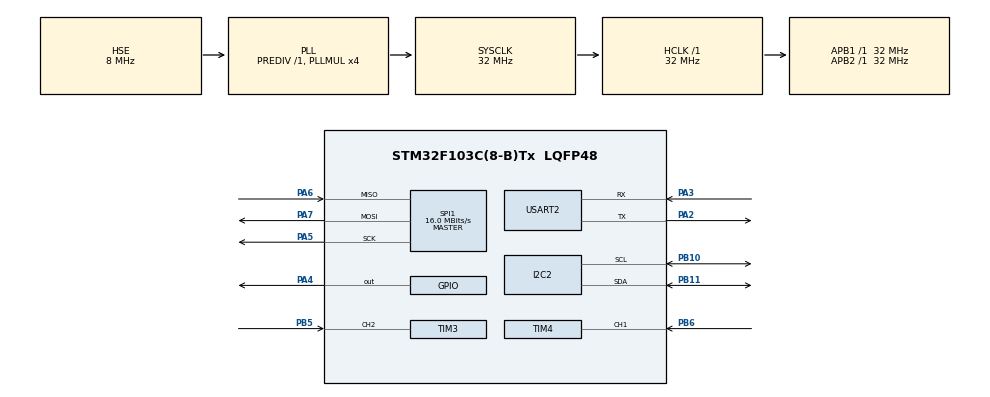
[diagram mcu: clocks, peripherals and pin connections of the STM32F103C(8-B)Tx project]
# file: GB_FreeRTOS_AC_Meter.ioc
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FREERTOS.Tasks01=defaultTask,0,128,StartDefaultTask,Default,NULL,Dynamic,NULL,NULL;HLW8012,2,128,HLW8012_func,Default,NULL,Dynamic,NULL,NULL;OLED,2,128,OLED_func,Default,NULL,Dynamic,NULL,NULL;ESP8266,2,128,ESP8266_func,Default,NULL,Dynamic,NULL,NULL
FREERTOS.configUSE_NEWLIB_REENTRANT=1
Mcu.Family=STM32F1
Mcu.Name=STM32F103C(8-B)Tx
Mcu.Package=LQFP48
NVIC.PriorityGroup=NVIC_PRIORITYGROUP_4
NVIC.TIM1_UP_IRQn=true\:15\:0\:false\:false\:true\:false\:false\:true
NVIC.TIM3_IRQn=true\:5\:0\:false\:false\:true\:true\:true\:true
NVIC.TIM4_IRQn=true\:5\:0\:false\:false\:true\:true\:true\:true
NVIC.TimeBase=TIM1_UP_IRQn
NVIC.TimeBaseIP=TIM1
NVIC.USART2_IRQn=true\:5\:0\:false\:false\:true\:true\:true\:true
PA13.Mode=Serial_Wire
PA13.Signal=SYS_JTMS-SWDIO
PA14.Mode=Serial_Wire
PA14.Signal=SYS_JTCK-SWCLK
PA2.Mode=Asynchronous
PA2.Signal=USART2_TX
PA3.Mode=Asynchronous
PA3.Signal=USART2_RX
PA4.Signal=GPIO_Output
PA5.Mode=Full_Duplex_Master
PA5.Signal=SPI1_SCK
PA6.Mode=Full_Duplex_Master
PA6.Signal=SPI1_MISO
PA7.Mode=Full_Duplex_Master
PA7.Signal=SPI1_MOSI
PB10.Mode=I2C
PB10.Signal=I2C2_SCL
PB11.Mode=I2C
PB11.Signal=I2C2_SDA
PB5.Signal=S_TIM3_CH2
PB6.Signal=S_TIM4_CH1
PD0-OSC_IN.Mode=HSE-External-Oscillator
PD0-OSC_IN.Signal=RCC_OSC_IN
PD1-OSC_OUT.Mode=HSE-External-Oscillator
PD1-OSC_OUT.Signal=RCC_OSC_OUT
ProjectManager.HeapSize=0x200
ProjectManager.StackSize=0x400
ProjectManager.TargetToolchain=STM32CubeIDE
RCC.AHBFreq_Value=32000000
RCC.APB1Freq_Value=32000000
RCC.APB1TimFreq_Value=32000000
RCC.APB2Freq_Value=32000000
RCC.APB2TimFreq_Value=32000000
RCC.HCLKFreq_Value=32000000
RCC.PLLMUL=RCC_PLL_MUL4
RCC.PLLSourceVirtual=RCC_PLLSOURCE_HSE
RCC.SYSCLKFreq_VALUE=32000000
RCC.SYSCLKSource=RCC_SYSCLKSOURCE_PLLCLK
RCC.USBFreq_Value=32000000
SH.S_TIM3_CH2.0=TIM3_CH2,PWM_Input_2
SH.S_TIM4_CH1.0=TIM4_CH1,PWM_Input_1
SPI1.CalculateBaudRate=16.0 MBits/s
SPI1.Direction=SPI_DIRECTION_2LINES
SPI1.Mode=SPI_MODE_MASTER
SPI1.VirtualType=VM_MASTER
TIM3.Prescaler=320
TIM4.Prescaler=320
USART2.VirtualMode=VM_ASYNC
VP_FREERTOS_VS_CMSIS_V1.Mode=CMSIS_V1
VP_SYS_VS_tim1.Mode=TIM1
board=custom

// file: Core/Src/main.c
/* USER CODE BEGIN Header */
/**
  ******************************************************************************
  * @file           : main.c
  * @brief          : Main program body
  ******************************************************************************
  * @attention
  *
  * Copyright (c) 2022 STMicroelectronics.
  * All rights reserved.
  *
  * This software is licensed under terms that can be found in the LICENSE file
  * in the root directory of this software component.
  * If no LICENSE file comes with this software, it is provided AS-IS.
  *
  ******************************************************************************
  */
/* USER CODE END Header */
#include "main.h"
#include "cmsis_os.h"

/* USER CODE BEGIN Includes */
#include "gb_hlw8012.h"
#include "gb_ssd1306_hal.h"
#include "gb_timer_input_capture.h"

/* USER CODE END Includes */

I2C_HandleTypeDef hi2c2;

SPI_HandleTypeDef hspi1;

TIM_HandleTypeDef htim3;
TIM_HandleTypeDef htim4;

UART_HandleTypeDef huart2;

osThreadId defaultTaskHandle;
osThreadId HLW8012Handle;
osThreadId OLEDHandle;
osThreadId ESP8266Handle;

void SystemClock_Config(void);
static void MX_GPIO_Init(void);
static void MX_I2C2_Init(void);
static void MX_SPI1_Init(void);
static void MX_TIM3_Init(void);
static void MX_TIM4_Init(void);
static void MX_USART2_UART_Init(void);
void StartDefaultTask(void const * argument);
void HLW8012_func(void const * argument);
void OLED_func(void const * argument);
void ESP8266_func(void const * argument);

/* USER CODE BEGIN PFP */
float current = 0;
float voltage = 0;
float power = 0;

#define CURRENT_RESISTOR                0.001
#define VOLTAGE_RESISTOR_UPSTREAM       ( 5 * 470000 ) // Real: 2280k
#define VOLTAGE_RESISTOR_DOWNSTREAM     ( 1000 ) // Real 1.009k

/* USER CODE END PFP */

int main(void)
{

  /* MCU Configuration--------------------------------------------------------*/

  /* Reset of all peripherals, Initializes the Flash interface and the Systick. */
  HAL_Init();

  /* Configure the system clock */
  SystemClock_Config();

  /* Initialize all configured peripherals */
  MX_GPIO_Init();
  MX_I2C2_Init();
  MX_SPI1_Init();
  MX_TIM3_Init();
  MX_TIM4_Init();
  MX_USART2_UART_Init();
  /* USER CODE BEGIN 2 */

  ssd1306_init();
  ssd1306_clear(GB_SSD1306_COLOR_BLACK);
  ssd1306_update_data();

  HAL_TIM_IC_Start_IT(&htim3, TIM_CHANNEL_2);   // main channel
  HAL_TIM_IC_Start(&htim3, TIM_CHANNEL_1);   // indirect channel

  HAL_TIM_IC_Start_IT(&htim4, TIM_CHANNEL_1);   // main channel
  HAL_TIM_IC_Start(&htim4, TIM_CHANNEL_2);   // indirect channel

  hlw8012_setResistors(CURRENT_RESISTOR, VOLTAGE_RESISTOR_UPSTREAM, VOLTAGE_RESISTOR_DOWNSTREAM);
 // hlw8012_calibrate();
  /* USER CODE END 2 */

  /* Create the thread(s) */
  /* definition and creation of defaultTask */
  osThreadDef(defaultTask, StartDefaultTask, osPriorityNormal, 0, 128);
  defaultTaskHandle = osThreadCreate(osThread(defaultTask), NULL);

  /* definition and creation of HLW8012 */
  osThreadDef(HLW8012, HLW8012_func, osPriorityHigh, 0, 128);
  HLW8012Handle = osThreadCreate(osThread(HLW8012), NULL);

  /* definition and creation of OLED */
  osThreadDef(OLED, OLED_func, osPriorityHigh, 0, 128);
  OLEDHandle = osThreadCreate(osThread(OLED), NULL);

  /* definition and creation of ESP8266 */
  osThreadDef(ESP8266, ESP8266_func, osPriorityHigh, 0, 128);
  ESP8266Handle = osThreadCreate(osThread(ESP8266), NULL);

  /* Start scheduler */
  osKernelStart();

  /* We should never get here as control is now taken by the scheduler */
  /* Infinite loop */
  while (1)
  {

  }
}

void SystemClock_Config(void)
{
  RCC_OscInitTypeDef RCC_OscInitStruct = {0};
  RCC_ClkInitTypeDef RCC_ClkInitStruct = {0};

  /** Initializes the RCC Oscillators according to the specified parameters
  * in the RCC_OscInitTypeDef structure.
  */
  RCC_OscInitStruct.OscillatorType = RCC_OSCILLATORTYPE_HSE;
  RCC_OscInitStruct.HSEState = RCC_HSE_ON;
  RCC_OscInitStruct.HSEPredivValue = RCC_HSE_PREDIV_DIV1;
  RCC_OscInitStruct.HSIState = RCC_HSI_ON;
  RCC_OscInitStruct.PLL.PLLState = RCC_PLL_ON;
  RCC_OscInitStruct.PLL.PLLSource = RCC_PLLSOURCE_HSE;
  RCC_OscInitStruct.PLL.PLLMUL = RCC_PLL_MUL4;
  if (HAL_RCC_OscConfig(&RCC_OscInitStruct) != HAL_OK)
  {
    Error_Handler();
  }
  /** Initializes the CPU, AHB and APB buses clocks
  */
  RCC_ClkInitStruct.ClockType = RCC_CLOCKTYPE_HCLK|RCC_CLOCKTYPE_SYSCLK
                              |RCC_CLOCKTYPE_PCLK1|RCC_CLOCKTYPE_PCLK2;
  RCC_ClkInitStruct.SYSCLKSource = RCC_SYSCLKSOURCE_PLLCLK;
  RCC_ClkInitStruct.AHBCLKDivider = RCC_SYSCLK_DIV1;
  RCC_ClkInitStruct.APB1CLKDivider = RCC_HCLK_DIV1;
  RCC_ClkInitStruct.APB2CLKDivider = RCC_HCLK_DIV1;

  if (HAL_RCC_ClockConfig(&RCC_ClkInitStruct, FLASH_LATENCY_1) != HAL_OK)
  {
    Error_Handler();
  }
}

static void MX_I2C2_Init(void)
{

  hi2c2.Instance = I2C2;
  hi2c2.Init.ClockSpeed = 100000;
  hi2c2.Init.DutyCycle = I2C_DUTYCYCLE_2;
  hi2c2.Init.OwnAddress1 = 0;
  hi2c2.Init.AddressingMode = I2C_ADDRESSINGMODE_7BIT;
  hi2c2.Init.DualAddressMode = I2C_DUALADDRESS_DISABLE;
  hi2c2.Init.OwnAddress2 = 0;
  hi2c2.Init.GeneralCallMode = I2C_GENERALCALL_DISABLE;
  hi2c2.Init.NoStretchMode = I2C_NOSTRETCH_DISABLE;
  if (HAL_I2C_Init(&hi2c2) != HAL_OK)
  {
    Error_Handler();
  }

}

static void MX_SPI1_Init(void)
{

  /* SPI1 parameter configuration*/
  hspi1.Instance = SPI1;
  hspi1.Init.Mode = SPI_MODE_MASTER;
  hspi1.Init.Direction = SPI_DIRECTION_2LINES;
  hspi1.Init.DataSize = SPI_DATASIZE_8BIT;
  hspi1.Init.CLKPolarity = SPI_POLARITY_LOW;
  hspi1.Init.CLKPhase = SPI_PHASE_1EDGE;
  hspi1.Init.NSS = SPI_NSS_SOFT;
  hspi1.Init.BaudRatePrescaler = SPI_BAUDRATEPRESCALER_2;
  hspi1.Init.FirstBit = SPI_FIRSTBIT_MSB;
  hspi1.Init.TIMode = SPI_TIMODE_DISABLE;
  hspi1.Init.CRCCalculation = SPI_CRCCALCULATION_DISABLE;
  hspi1.Init.CRCPolynomial = 10;
  if (HAL_SPI_Init(&hspi1) != HAL_OK)
  {
    Error_Handler();
  }

}

static void MX_TIM3_Init(void)
{

  TIM_SlaveConfigTypeDef sSlaveConfig = {0};
  TIM_IC_InitTypeDef sConfigIC = {0};
  TIM_MasterConfigTypeDef sMasterConfig = {0};

  htim3.Instance = TIM3;
  htim3.Init.Prescaler = 320;
  htim3.Init.CounterMode = TIM_COUNTERMODE_UP;
  htim3.Init.Period = 65535;
  htim3.Init.ClockDivision = TIM_CLOCKDIVISION_DIV1;
  htim3.Init.AutoReloadPreload = TIM_AUTORELOAD_PRELOAD_DISABLE;
  if (HAL_TIM_IC_Init(&htim3) != HAL_OK)
  {
    Error_Handler();
  }
  sSlaveConfig.SlaveMode = TIM_SLAVEMODE_RESET;
  sSlaveConfig.InputTrigger = TIM_TS_TI2FP2;
  sSlaveConfig.TriggerPolarity = TIM_INPUTCHANNELPOLARITY_FALLING;
  sSlaveConfig.TriggerPrescaler = TIM_ICPSC_DIV1;
  sSlaveConfig.TriggerFilter = 0;
  if (HAL_TIM_SlaveConfigSynchro(&htim3, &sSlaveConfig) != HAL_OK)
  {
    Error_Handler();
  }
  sConfigIC.ICPolarity = TIM_INPUTCHANNELPOLARITY_RISING;
  sConfigIC.ICSelection = TIM_ICSELECTION_INDIRECTTI;
  sConfigIC.ICPrescaler = TIM_ICPSC_DIV1;
  sConfigIC.ICFilter = 0;
  if (HAL_TIM_IC_ConfigChannel(&htim3, &sConfigIC, TIM_CHANNEL_1) != HAL_OK)
  {
    Error_Handler();
  }
  sConfigIC.ICPolarity = TIM_INPUTCHANNELPOLARITY_FALLING;
  sConfigIC.ICSelection = TIM_ICSELECTION_DIRECTTI;
  if (HAL_TIM_IC_ConfigChannel(&htim3, &sConfigIC, TIM_CHANNEL_2) != HAL_OK)
  {
    Error_Handler();
  }
  sMasterConfig.MasterOutputTrigger = TIM_TRGO_RESET;
  sMasterConfig.MasterSlaveMode = TIM_MASTERSLAVEMODE_DISABLE;
  if (HAL_TIMEx_MasterConfigSynchronization(&htim3, &sMasterConfig) != HAL_OK)
  {
    Error_Handler();
  }

}

static void MX_TIM4_Init(void)
{

  TIM_SlaveConfigTypeDef sSlaveConfig = {0};
  TIM_IC_InitTypeDef sConfigIC = {0};
  TIM_MasterConfigTypeDef sMasterConfig = {0};

  htim4.Instance = TIM4;
  htim4.Init.Prescaler = 320;
  htim4.Init.CounterMode = TIM_COUNTERMODE_UP;
  htim4.Init.Period = 65535;
  htim4.Init.ClockDivision = TIM_CLOCKDIVISION_DIV1;
  htim4.Init.AutoReloadPreload = TIM_AUTORELOAD_PRELOAD_DISABLE;
  if (HAL_TIM_IC_Init(&htim4) != HAL_OK)
  {
    Error_Handler();
  }
  sSlaveConfig.SlaveMode = TIM_SLAVEMODE_RESET;
  sSlaveConfig.InputTrigger = TIM_TS_TI1FP1;
  sSlaveConfig.TriggerPolarity = TIM_INPUTCHANNELPOLARITY_RISING;
  sSlaveConfig.TriggerPrescaler = TIM_ICPSC_DIV1;
  sSlaveConfig.TriggerFilter = 0;
  if (HAL_TIM_SlaveConfigSynchro(&htim4, &sSlaveConfig) != HAL_OK)
  {
    Error_Handler();
  }
  sConfigIC.ICPolarity = TIM_INPUTCHANNELPOLARITY_RISING;
  sConfigIC.ICSelection = TIM_ICSELECTION_DIRECTTI;
  sConfigIC.ICPrescaler = TIM_ICPSC_DIV1;
  sConfigIC.ICFilter = 0;
  if (HAL_TIM_IC_ConfigChannel(&htim4, &sConfigIC, TIM_CHANNEL_1) != HAL_OK)
  {
    Error_Handler();
  }
  sConfigIC.ICPolarity = TIM_INPUTCHANNELPOLARITY_FALLING;
  sConfigIC.ICSelection = TIM_ICSELECTION_INDIRECTTI;
  if (HAL_TIM_IC_ConfigChannel(&htim4, &sConfigIC, TIM_CHANNEL_2) != HAL_OK)
  {
    Error_Handler();
  }
  sMasterConfig.MasterOutputTrigger = TIM_TRGO_RESET;
  sMasterConfig.MasterSlaveMode = TIM_MASTERSLAVEMODE_DISABLE;
  if (HAL_TIMEx_MasterConfigSynchronization(&htim4, &sMasterConfig) != HAL_OK)
  {
    Error_Handler();
  }

}

static void MX_USART2_UART_Init(void)
{

  huart2.Instance = USART2;
  huart2.Init.BaudRate = 115200;
  huart2.Init.WordLength = UART_WORDLENGTH_8B;
  huart2.Init.StopBits = UART_STOPBITS_1;
  huart2.Init.Parity = UART_PARITY_NONE;
  huart2.Init.Mode = UART_MODE_TX_RX;
  huart2.Init.HwFlowCtl = UART_HWCONTROL_NONE;
  huart2.Init.OverSampling = UART_OVERSAMPLING_16;
  if (HAL_UART_Init(&huart2) != HAL_OK)
  {
    Error_Handler();
  }

}

static void MX_GPIO_Init(void)
{
  GPIO_InitTypeDef GPIO_InitStruct = {0};

  /* GPIO Ports Clock Enable */
  __HAL_RCC_GPIOD_CLK_ENABLE();
  __HAL_RCC_GPIOA_CLK_ENABLE();
  __HAL_RCC_GPIOB_CLK_ENABLE();

  /*Configure GPIO pin Output Level */
  HAL_GPIO_WritePin(GPIOA, GPIO_PIN_4, GPIO_PIN_RESET);

  /*Configure GPIO pin : PA4 */
  GPIO_InitStruct.Pin = GPIO_PIN_4;
  GPIO_InitStruct.Mode = GPIO_MODE_OUTPUT_PP;
  GPIO_InitStruct.Pull = GPIO_NOPULL;
  GPIO_InitStruct.Speed = GPIO_SPEED_FREQ_LOW;
  HAL_GPIO_Init(GPIOA, &GPIO_InitStruct);

}

void StartDefaultTask(void const * argument)
{
  for(;;)
  {
    osDelay(1);
  }
}

void HLW8012_func(void const * argument)
{
  /* USER CODE BEGIN HLW8012_func */
  /* Infinite loop */
  for(;;)
  {
	  current = hlw8012_getcurrent();
	  voltage = hlw8012_getvoltage();
	  power  = hlw8012_getactivepower();

    osDelay(1);
  }
  /* USER CODE END HLW8012_func */
}

void OLED_func(void const * argument)
{
  /* USER CODE BEGIN OLED_func */
  /* Infinite loop */
  for(;;)
  {
	  ssd1306_GotoXY(0, 0);
    ssd1306_print_string("Current:", GB_SSD1306_COLOR_WHITE);
    ssd1306_float(current,GB_SSD1306_COLOR_WHITE);
    ssd1306_print_string(" A", GB_SSD1306_COLOR_WHITE);
    ssd1306_update_data();

	ssd1306_GotoXY(0, 15);
    ssd1306_print_string("Voltage:", GB_SSD1306_COLOR_WHITE);
    ssd1306_float(voltage,GB_SSD1306_COLOR_WHITE);
    ssd1306_print_string(" V", GB_SSD1306_COLOR_WHITE);
	ssd1306_update_data();

	ssd1306_GotoXY(0, 24);
	ssd1306_print_string("Power:", GB_SSD1306_COLOR_WHITE);
	ssd1306_float(power,GB_SSD1306_COLOR_WHITE);
	ssd1306_print_string(" W", GB_SSD1306_COLOR_WHITE);
	ssd1306_update_data();
    osDelay(1);
  }
  /* USER CODE END OLED_func */
}

void ESP8266_func(void const * argument)
{
  for(;;)
  {
    osDelay(1);
  }
}

void HAL_TIM_PeriodElapsedCallback(TIM_HandleTypeDef *htim)
{
  if (htim->Instance == TIM1) {
    HAL_IncTick();
  }
}

void Error_Handler(void)
{
  __disable_irq();
  while (1)
  {
  }
}
